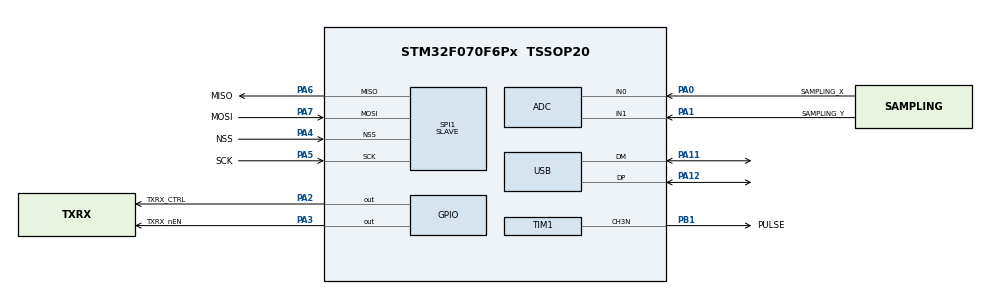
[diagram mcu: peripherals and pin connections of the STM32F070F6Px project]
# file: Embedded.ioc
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ADC.DMAContinuousRequests=ENABLE
ADC.EOCSelection=ADC_EOC_SEQ_CONV
ADC.ExternalTrigConv=ADC_EXTERNALTRIGCONV_T3_TRGO
ADC.Overrun=ADC_OVR_DATA_OVERWRITTEN
ADC.SamplingTime=ADC_SAMPLETIME_7CYCLES_5
Dma.ADC.2.Direction=DMA_PERIPH_TO_MEMORY
Dma.ADC.2.Instance=DMA1_Channel1
Dma.ADC.2.MemDataAlignment=DMA_MDATAALIGN_HALFWORD
Dma.ADC.2.MemInc=DMA_MINC_ENABLE
Dma.ADC.2.Mode=DMA_CIRCULAR
Dma.ADC.2.PeriphDataAlignment=DMA_PDATAALIGN_HALFWORD
Dma.ADC.2.PeriphInc=DMA_PINC_DISABLE
Dma.ADC.2.Priority=DMA_PRIORITY_VERY_HIGH
Dma.Request0=SPI1_RX
Dma.Request1=SPI1_TX
Dma.Request2=ADC
Dma.SPI1_RX.0.Direction=DMA_PERIPH_TO_MEMORY
Dma.SPI1_RX.0.Instance=DMA1_Channel2
Dma.SPI1_RX.0.MemDataAlignment=DMA_MDATAALIGN_BYTE
Dma.SPI1_RX.0.MemInc=DMA_MINC_ENABLE
Dma.SPI1_RX.0.Mode=DMA_CIRCULAR
Dma.SPI1_RX.0.PeriphDataAlignment=DMA_PDATAALIGN_BYTE
Dma.SPI1_RX.0.PeriphInc=DMA_PINC_DISABLE
Dma.SPI1_RX.0.Priority=DMA_PRIORITY_HIGH
Dma.SPI1_TX.1.Direction=DMA_MEMORY_TO_PERIPH
Dma.SPI1_TX.1.Instance=DMA1_Channel3
Dma.SPI1_TX.1.MemDataAlignment=DMA_MDATAALIGN_BYTE
Dma.SPI1_TX.1.MemInc=DMA_MINC_ENABLE
Dma.SPI1_TX.1.Mode=DMA_CIRCULAR
Dma.SPI1_TX.1.PeriphDataAlignment=DMA_PDATAALIGN_BYTE
Dma.SPI1_TX.1.PeriphInc=DMA_PINC_DISABLE
Dma.SPI1_TX.1.Priority=DMA_PRIORITY_MEDIUM
Mcu.Family=STM32F0
Mcu.Name=STM32F070F6Px
Mcu.Package=TSSOP20
Mcu.UserConstants=MCU_CLOCK_FREQ,48000000;ULTRASONIC_TRANSCEIVER_FREQ,40000;TIM1_CLOCK_FREQ,MCU_CLOCK_FREQ;TIM1_RELOAD_VALUE,((TIM1_CLOCK_FREQ/ULTRASONIC_TRANSCEIVER_FREQ)-1);ADC_SAMPLING_FREQ,(ULTRASONIC_TRANSCEIVER_FREQ*4);TIM3_CLOCK_FREQ,MCU_CLOCK_FREQ;TIM3_RELOAD_VALUE,((TIM3_CLOCK_FREQ/ADC_SAMPLING_FREQ)-1);TIM1_CH3N_COMPARE_VALUE,((TIM1_RELOAD_VALUE+1)/2)
NVIC.DMA1_Channel1_IRQn=true\:3\:0\:true\:false\:true\:false\:true
NVIC.DMA1_Channel2_3_IRQn=true\:1\:0\:true\:false\:true\:false\:true
NVIC.USB_IRQn=true\:0\:0\:false\:false\:true\:true\:true
PA0.GPIO_Label=SAMPLING_X
PA0.Mode=IN0
PA0.Signal=ADC_IN0
PA1.GPIO_Label=SAMPLING_Y
PA1.Mode=IN1
PA1.Signal=ADC_IN1
PA11.Mode=Device
PA11.Signal=USB_DM
PA12.Mode=Device
PA12.Signal=USB_DP
PA13.GPIO_Label=SWDIO
PA13.Mode=Serial_Wire
PA13.Signal=SYS_SWDIO
PA14.GPIO_Label=SWCLK
PA14.Mode=Serial_Wire
PA14.Signal=SYS_SWCLK
PA2.GPIO_Label=TXRX_CTRL
PA2.Signal=GPIO_Output
PA3.GPIO_Label=TXRX_nEN
PA3.PinState=GPIO_PIN_SET
PA3.Signal=GPIO_Output
PA4.GPIO_Label=NSS
PA4.Mode=NSS_Signal_Hard_Input
PA4.Signal=SPI1_NSS
PA5.GPIO_Label=SCK
PA5.Mode=Full_Duplex_Slave
PA5.Signal=SPI1_SCK
PA6.GPIO_Label=MISO
PA6.Mode=Full_Duplex_Slave
PA6.Signal=SPI1_MISO
PA7.GPIO_Label=MOSI
PA7.Mode=Full_Duplex_Slave
PA7.Signal=SPI1_MOSI
PB1.GPIO_Label=PULSE
PB1.Mode=Output Compare3 CH3N
PB1.Signal=TIM1_CH3N
PF0-OSC_IN.Mode=HSE-External-Oscillator
PF0-OSC_IN.Signal=RCC_OSC_IN
PF1-OSC_OUT.Mode=HSE-External-Oscillator
PF1-OSC_OUT.Signal=RCC_OSC_OUT
ProjectManager.HeapSize=0x800
ProjectManager.StackSize=0x400
ProjectManager.TargetToolchain=Makefile
RCC.AHBFreq_Value=48000000
RCC.APB1Freq_Value=48000000
RCC.APB1TimFreq_Value=48000000
RCC.HCLKFreq_Value=48000000
RCC.PLLMUL=RCC_PLL_MUL6
RCC.SYSCLKFreq_VALUE=48000000
RCC.SYSCLKSource=RCC_SYSCLKSOURCE_PLLCLK
SPI1.DataSize=SPI_DATASIZE_8BIT
SPI1.Direction=SPI_DIRECTION_2LINES
SPI1.Mode=SPI_MODE_SLAVE
SPI1.VirtualNSS=VM_NSSHARD
SPI1.VirtualType=VM_SLAVE
TIM1.Channel-Output\ Compare3\ CH3N=TIM_CHANNEL_3
TIM1.OCNPolarity_3=TIM_OCNPOLARITY_LOW
TIM1.Period=TIM1_RELOAD_VALUE
TIM1.Pulse-Output\ Compare3\ CH3N=TIM1_CH3N_COMPARE_VALUE
TIM1.TIM_MasterOutputTrigger=TIM_TRGO_ENABLE
TIM3.Period=TIM3_RELOAD_VALUE
USB_DEVICE.APP_RX_DATA_SIZE=128
USB_DEVICE.APP_TX_DATA_SIZE=64
USB_DEVICE.CLASS_NAME_FS=CDC
USB_DEVICE.USBD_MAX_STR_DESC_SIZ=128
USB_DEVICE.USBD_SELF_POWERED=0
USB_DEVICE.VirtualMode=Cdc
USB_DEVICE.VirtualModeFS=Cdc_FS
VP_SYS_VS_PINREMAP.Mode=PINREMAP
VP_TIM1_VS_ClockSourceINT.Mode=Internal
VP_TIM3_VS_ClockSourceINT.Mode=Internal
VP_TIM3_VS_ClockSourceITR.Mode=TriggerSource_ITR0
VP_TIM3_VS_ControllerModeGated.Mode=Gated Mode
VP_USB_DEVICE_VS_USB_DEVICE_CDC_FS.Mode=CDC_FS
board=custom

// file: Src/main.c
/* USER CODE BEGIN Header */
/**
  ******************************************************************************
  * @file           : main.c
  * @brief          : Main program body
  ******************************************************************************
  * @attention
  *
  * <h2><center>&copy; Copyright (c) 2020 STMicroelectronics.
  * All rights reserved.</center></h2>
  *
  * This software component is licensed by ST under Ultimate Liberty license
  * SLA0044, the "License"; You may not use this file except in compliance with
  * the License. You may obtain a copy of the License at:
  *                             www.st.com/SLA0044
  *
  ******************************************************************************
  */
/* USER CODE END Header */

#include "main.h"
#include "usb_device.h"

/* USER CODE BEGIN Includes */
#include "flow.h"
#include "usbd_cdc_if.h"
/* USER CODE END Includes */

/* USER CODE BEGIN PD */
#define FT_SAMPLES FLOW_FT_SAMPLES_128
#define FT_DISCARDED_SAMPLES FLOW_FT_SAMPLES_16
/* USER CODE END PD */

/* USER CODE BEGIN PV */
static uint16_t ADCBuffer[__FLOW_GET_ADC_BUFFER_SIZE(FT_SAMPLES)];
static uint8_t USBTxBuffer[64];

/* USER CODE END PV */

void SystemClock_Config(void);
static void MX_GPIO_Init(void);
static void MX_DMA_Init(void);
static void MX_ADC_Init(void);
static void MX_SPI1_Init(void);
static void MX_TIM1_Init(void);
static void MX_TIM3_Init(void);

/* USER CODE BEGIN PFP */
static uint16_t toCharArray(uint8_t *buffer, int32_t num);
/* USER CODE END PFP */

int main(void)
{

  /* MCU Configuration--------------------------------------------------------*/

  /* Reset of all peripherals, Initializes the Flash interface and the Systick. */
  HAL_Init();

  /* Configure the system clock */
  SystemClock_Config();

  /* Initialize all configured peripherals */
  MX_GPIO_Init();
  MX_DMA_Init();
  MX_ADC_Init();
  MX_SPI1_Init();
  MX_TIM1_Init();
  MX_TIM3_Init();
  MX_USB_DEVICE_Init();

  /* USER CODE BEGIN 2 */
  Flow_Init(ADCBuffer, 25, FT_SAMPLES, FT_DISCARDED_SAMPLES);
  Flow_Start();
  /* USER CODE END 2 */

  /* Infinite loop */
  while (1)
  {
    Flow_Execute();
  }
}

void SystemClock_Config(void)
{
  LL_FLASH_SetLatency(LL_FLASH_LATENCY_1);

  if (LL_FLASH_GetLatency() != LL_FLASH_LATENCY_1)
  {
    Error_Handler();
  }
  LL_RCC_HSE_Enable();

  /* Wait till HSE is ready */
  while (LL_RCC_HSE_IsReady() != 1)
  {
  }
  LL_RCC_HSI14_Enable();

  /* Wait till HSI14 is ready */
  while (LL_RCC_HSI14_IsReady() != 1)
  {
  }
  LL_RCC_HSI14_SetCalibTrimming(16);
  LL_RCC_PLL_ConfigDomain_SYS(LL_RCC_PLLSOURCE_HSE, LL_RCC_PLL_MUL_6, LL_RCC_PREDIV_DIV_1);
  LL_RCC_PLL_Enable();

  /* Wait till PLL is ready */
  while (LL_RCC_PLL_IsReady() != 1)
  {
  }
  LL_RCC_SetAHBPrescaler(LL_RCC_SYSCLK_DIV_1);
  LL_RCC_SetAPB1Prescaler(LL_RCC_APB1_DIV_1);
  LL_RCC_SetSysClkSource(LL_RCC_SYS_CLKSOURCE_PLL);

  /* Wait till System clock is ready */
  while (LL_RCC_GetSysClkSource() != LL_RCC_SYS_CLKSOURCE_STATUS_PLL)
  {
  }
  LL_Init1msTick(48000000);
  LL_SYSTICK_SetClkSource(LL_SYSTICK_CLKSOURCE_HCLK);
  LL_SetSystemCoreClock(48000000);
  LL_RCC_HSI14_EnableADCControl();
  LL_RCC_SetUSBClockSource(LL_RCC_USB_CLKSOURCE_PLL);
}

static void MX_ADC_Init(void)
{

  LL_ADC_InitTypeDef ADC_InitStruct = {0};
  LL_ADC_REG_InitTypeDef ADC_REG_InitStruct = {0};

  LL_GPIO_InitTypeDef GPIO_InitStruct = {0};

  /* Peripheral clock enable */
  LL_APB1_GRP2_EnableClock(LL_APB1_GRP2_PERIPH_ADC1);

  LL_AHB1_GRP1_EnableClock(LL_AHB1_GRP1_PERIPH_GPIOA);
  /**ADC GPIO Configuration
  PA0   ------> ADC_IN0
  PA1   ------> ADC_IN1
  */
  GPIO_InitStruct.Pin = SAMPLING_X_Pin;
  GPIO_InitStruct.Mode = LL_GPIO_MODE_ANALOG;
  GPIO_InitStruct.Pull = LL_GPIO_PULL_NO;
  LL_GPIO_Init(SAMPLING_X_GPIO_Port, &GPIO_InitStruct);

  GPIO_InitStruct.Pin = SAMPLING_Y_Pin;
  GPIO_InitStruct.Mode = LL_GPIO_MODE_ANALOG;
  GPIO_InitStruct.Pull = LL_GPIO_PULL_NO;
  LL_GPIO_Init(SAMPLING_Y_GPIO_Port, &GPIO_InitStruct);

  /* ADC DMA Init */

  /* ADC Init */
  LL_DMA_SetDataTransferDirection(DMA1, LL_DMA_CHANNEL_1, LL_DMA_DIRECTION_PERIPH_TO_MEMORY);

  LL_DMA_SetChannelPriorityLevel(DMA1, LL_DMA_CHANNEL_1, LL_DMA_PRIORITY_VERYHIGH);

  LL_DMA_SetMode(DMA1, LL_DMA_CHANNEL_1, LL_DMA_MODE_CIRCULAR);

  LL_DMA_SetPeriphIncMode(DMA1, LL_DMA_CHANNEL_1, LL_DMA_PERIPH_NOINCREMENT);

  LL_DMA_SetMemoryIncMode(DMA1, LL_DMA_CHANNEL_1, LL_DMA_MEMORY_INCREMENT);

  LL_DMA_SetPeriphSize(DMA1, LL_DMA_CHANNEL_1, LL_DMA_PDATAALIGN_HALFWORD);

  LL_DMA_SetMemorySize(DMA1, LL_DMA_CHANNEL_1, LL_DMA_MDATAALIGN_HALFWORD);

  /** Configure Regular Channel
  */
  LL_ADC_REG_SetSequencerChAdd(ADC1, LL_ADC_CHANNEL_0);
  /** Configure Regular Channel
  */
  LL_ADC_REG_SetSequencerChAdd(ADC1, LL_ADC_CHANNEL_1);
  /** Configure the global features of the ADC (Clock, Resolution, Data Alignment and number of conversion)
  */
  ADC_InitStruct.Clock = LL_ADC_CLOCK_ASYNC;
  ADC_InitStruct.Resolution = LL_ADC_RESOLUTION_12B;
  ADC_InitStruct.DataAlignment = LL_ADC_DATA_ALIGN_RIGHT;
  ADC_InitStruct.LowPowerMode = LL_ADC_LP_MODE_NONE;
  LL_ADC_Init(ADC1, &ADC_InitStruct);
  ADC_REG_InitStruct.TriggerSource = LL_ADC_REG_TRIG_EXT_TIM3_TRGO;
  ADC_REG_InitStruct.SequencerDiscont = LL_ADC_REG_SEQ_DISCONT_DISABLE;
  ADC_REG_InitStruct.ContinuousMode = LL_ADC_REG_CONV_SINGLE;
  ADC_REG_InitStruct.DMATransfer = LL_ADC_REG_DMA_TRANSFER_UNLIMITED;
  ADC_REG_InitStruct.Overrun = LL_ADC_REG_OVR_DATA_OVERWRITTEN;
  LL_ADC_REG_Init(ADC1, &ADC_REG_InitStruct);
  LL_ADC_REG_SetSequencerScanDirection(ADC1, LL_ADC_REG_SEQ_SCAN_DIR_FORWARD);
  LL_ADC_SetSamplingTimeCommonChannels(ADC1, LL_ADC_SAMPLINGTIME_7CYCLES_5);
  LL_ADC_DisableIT_EOC(ADC1);
  LL_ADC_DisableIT_EOS(ADC1);
  LL_ADC_REG_SetTriggerEdge(ADC1, LL_ADC_REG_TRIG_EXT_RISING);
}

static void MX_SPI1_Init(void)
{

  LL_SPI_InitTypeDef SPI_InitStruct = {0};

  LL_GPIO_InitTypeDef GPIO_InitStruct = {0};

  /* Peripheral clock enable */
  LL_APB1_GRP2_EnableClock(LL_APB1_GRP2_PERIPH_SPI1);

  LL_AHB1_GRP1_EnableClock(LL_AHB1_GRP1_PERIPH_GPIOA);
  /**SPI1 GPIO Configuration
  PA4   ------> SPI1_NSS
  PA5   ------> SPI1_SCK
  PA6   ------> SPI1_MISO
  PA7   ------> SPI1_MOSI
  */
  GPIO_InitStruct.Pin = NSS_Pin;
  GPIO_InitStruct.Mode = LL_GPIO_MODE_ALTERNATE;
  GPIO_InitStruct.Speed = LL_GPIO_SPEED_FREQ_HIGH;
  GPIO_InitStruct.OutputType = LL_GPIO_OUTPUT_PUSHPULL;
  GPIO_InitStruct.Pull = LL_GPIO_PULL_NO;
  GPIO_InitStruct.Alternate = LL_GPIO_AF_0;
  LL_GPIO_Init(NSS_GPIO_Port, &GPIO_InitStruct);

  GPIO_InitStruct.Pin = SCK_Pin;
  GPIO_InitStruct.Mode = LL_GPIO_MODE_ALTERNATE;
  GPIO_InitStruct.Speed = LL_GPIO_SPEED_FREQ_HIGH;
  GPIO_InitStruct.OutputType = LL_GPIO_OUTPUT_PUSHPULL;
  GPIO_InitStruct.Pull = LL_GPIO_PULL_NO;
  GPIO_InitStruct.Alternate = LL_GPIO_AF_0;
  LL_GPIO_Init(SCK_GPIO_Port, &GPIO_InitStruct);

  GPIO_InitStruct.Pin = MISO_Pin;
  GPIO_InitStruct.Mode = LL_GPIO_MODE_ALTERNATE;
  GPIO_InitStruct.Speed = LL_GPIO_SPEED_FREQ_HIGH;
  GPIO_InitStruct.OutputType = LL_GPIO_OUTPUT_PUSHPULL;
  GPIO_InitStruct.Pull = LL_GPIO_PULL_NO;
  GPIO_InitStruct.Alternate = LL_GPIO_AF_0;
  LL_GPIO_Init(MISO_GPIO_Port, &GPIO_InitStruct);

  GPIO_InitStruct.Pin = MOSI_Pin;
  GPIO_InitStruct.Mode = LL_GPIO_MODE_ALTERNATE;
  GPIO_InitStruct.Speed = LL_GPIO_SPEED_FREQ_HIGH;
  GPIO_InitStruct.OutputType = LL_GPIO_OUTPUT_PUSHPULL;
  GPIO_InitStruct.Pull = LL_GPIO_PULL_NO;
  GPIO_InitStruct.Alternate = LL_GPIO_AF_0;
  LL_GPIO_Init(MOSI_GPIO_Port, &GPIO_InitStruct);

  /* SPI1 DMA Init */

  /* SPI1_RX Init */
  LL_DMA_SetDataTransferDirection(DMA1, LL_DMA_CHANNEL_2, LL_DMA_DIRECTION_PERIPH_TO_MEMORY);

  LL_DMA_SetChannelPriorityLevel(DMA1, LL_DMA_CHANNEL_2, LL_DMA_PRIORITY_HIGH);

  LL_DMA_SetMode(DMA1, LL_DMA_CHANNEL_2, LL_DMA_MODE_CIRCULAR);

  LL_DMA_SetPeriphIncMode(DMA1, LL_DMA_CHANNEL_2, LL_DMA_PERIPH_NOINCREMENT);

  LL_DMA_SetMemoryIncMode(DMA1, LL_DMA_CHANNEL_2, LL_DMA_MEMORY_INCREMENT);

  LL_DMA_SetPeriphSize(DMA1, LL_DMA_CHANNEL_2, LL_DMA_PDATAALIGN_BYTE);

  LL_DMA_SetMemorySize(DMA1, LL_DMA_CHANNEL_2, LL_DMA_MDATAALIGN_BYTE);

  /* SPI1_TX Init */
  LL_DMA_SetDataTransferDirection(DMA1, LL_DMA_CHANNEL_3, LL_DMA_DIRECTION_MEMORY_TO_PERIPH);

  LL_DMA_SetChannelPriorityLevel(DMA1, LL_DMA_CHANNEL_3, LL_DMA_PRIORITY_MEDIUM);

  LL_DMA_SetMode(DMA1, LL_DMA_CHANNEL_3, LL_DMA_MODE_CIRCULAR);

  LL_DMA_SetPeriphIncMode(DMA1, LL_DMA_CHANNEL_3, LL_DMA_PERIPH_NOINCREMENT);

  LL_DMA_SetMemoryIncMode(DMA1, LL_DMA_CHANNEL_3, LL_DMA_MEMORY_INCREMENT);

  LL_DMA_SetPeriphSize(DMA1, LL_DMA_CHANNEL_3, LL_DMA_PDATAALIGN_BYTE);

  LL_DMA_SetMemorySize(DMA1, LL_DMA_CHANNEL_3, LL_DMA_MDATAALIGN_BYTE);

  /* SPI1 parameter configuration*/
  SPI_InitStruct.TransferDirection = LL_SPI_FULL_DUPLEX;
  SPI_InitStruct.Mode = LL_SPI_MODE_SLAVE;
  SPI_InitStruct.DataWidth = LL_SPI_DATAWIDTH_8BIT;
  SPI_InitStruct.ClockPolarity = LL_SPI_POLARITY_LOW;
  SPI_InitStruct.ClockPhase = LL_SPI_PHASE_1EDGE;
  SPI_InitStruct.NSS = LL_SPI_NSS_HARD_INPUT;
  SPI_InitStruct.BitOrder = LL_SPI_MSB_FIRST;
  SPI_InitStruct.CRCCalculation = LL_SPI_CRCCALCULATION_DISABLE;
  SPI_InitStruct.CRCPoly = 7;
  LL_SPI_Init(SPI1, &SPI_InitStruct);
  LL_SPI_SetStandard(SPI1, LL_SPI_PROTOCOL_MOTOROLA);
  LL_SPI_DisableNSSPulseMgt(SPI1);
}

static void MX_TIM1_Init(void)
{

  LL_TIM_InitTypeDef TIM_InitStruct = {0};
  LL_TIM_OC_InitTypeDef TIM_OC_InitStruct = {0};
  LL_TIM_BDTR_InitTypeDef TIM_BDTRInitStruct = {0};

  LL_GPIO_InitTypeDef GPIO_InitStruct = {0};

  /* Peripheral clock enable */
  LL_APB1_GRP2_EnableClock(LL_APB1_GRP2_PERIPH_TIM1);

  TIM_InitStruct.Prescaler = 0;
  TIM_InitStruct.CounterMode = LL_TIM_COUNTERMODE_UP;
  TIM_InitStruct.Autoreload = TIM1_RELOAD_VALUE;
  TIM_InitStruct.ClockDivision = LL_TIM_CLOCKDIVISION_DIV1;
  TIM_InitStruct.RepetitionCounter = 0;
  LL_TIM_Init(TIM1, &TIM_InitStruct);
  LL_TIM_DisableARRPreload(TIM1);
  LL_TIM_SetClockSource(TIM1, LL_TIM_CLOCKSOURCE_INTERNAL);
  TIM_OC_InitStruct.OCMode = LL_TIM_OCMODE_FROZEN;
  TIM_OC_InitStruct.OCState = LL_TIM_OCSTATE_DISABLE;
  TIM_OC_InitStruct.OCNState = LL_TIM_OCSTATE_DISABLE;
  TIM_OC_InitStruct.CompareValue = TIM1_CH3N_COMPARE_VALUE;
  TIM_OC_InitStruct.OCPolarity = LL_TIM_OCPOLARITY_HIGH;
  TIM_OC_InitStruct.OCNPolarity = LL_TIM_OCPOLARITY_LOW;
  TIM_OC_InitStruct.OCIdleState = LL_TIM_OCIDLESTATE_LOW;
  TIM_OC_InitStruct.OCNIdleState = LL_TIM_OCIDLESTATE_LOW;
  LL_TIM_OC_Init(TIM1, LL_TIM_CHANNEL_CH3, &TIM_OC_InitStruct);
  LL_TIM_OC_DisableFast(TIM1, LL_TIM_CHANNEL_CH3);
  LL_TIM_SetTriggerOutput(TIM1, LL_TIM_TRGO_ENABLE);
  LL_TIM_DisableMasterSlaveMode(TIM1);
  TIM_BDTRInitStruct.OSSRState = LL_TIM_OSSR_DISABLE;
  TIM_BDTRInitStruct.OSSIState = LL_TIM_OSSI_DISABLE;
  TIM_BDTRInitStruct.LockLevel = LL_TIM_LOCKLEVEL_OFF;
  TIM_BDTRInitStruct.DeadTime = 0;
  TIM_BDTRInitStruct.BreakState = LL_TIM_BREAK_DISABLE;
  TIM_BDTRInitStruct.BreakPolarity = LL_TIM_BREAK_POLARITY_HIGH;
  TIM_BDTRInitStruct.AutomaticOutput = LL_TIM_AUTOMATICOUTPUT_DISABLE;
  LL_TIM_BDTR_Init(TIM1, &TIM_BDTRInitStruct);
  LL_AHB1_GRP1_EnableClock(LL_AHB1_GRP1_PERIPH_GPIOB);
  /**TIM1 GPIO Configuration
  PB1   ------> TIM1_CH3N
  */
  GPIO_InitStruct.Pin = PULSE_Pin;
  GPIO_InitStruct.Mode = LL_GPIO_MODE_ALTERNATE;
  GPIO_InitStruct.Speed = LL_GPIO_SPEED_FREQ_LOW;
  GPIO_InitStruct.OutputType = LL_GPIO_OUTPUT_PUSHPULL;
  GPIO_InitStruct.Pull = LL_GPIO_PULL_NO;
  GPIO_InitStruct.Alternate = LL_GPIO_AF_2;
  LL_GPIO_Init(PULSE_GPIO_Port, &GPIO_InitStruct);
}

static void MX_TIM3_Init(void)
{

  LL_TIM_InitTypeDef TIM_InitStruct = {0};

  /* Peripheral clock enable */
  LL_APB1_GRP1_EnableClock(LL_APB1_GRP1_PERIPH_TIM3);

  TIM_InitStruct.Prescaler = 0;
  TIM_InitStruct.CounterMode = LL_TIM_COUNTERMODE_UP;
  TIM_InitStruct.Autoreload = TIM3_RELOAD_VALUE;
  TIM_InitStruct.ClockDivision = LL_TIM_CLOCKDIVISION_DIV1;
  LL_TIM_Init(TIM3, &TIM_InitStruct);
  LL_TIM_DisableARRPreload(TIM3);
  LL_TIM_SetClockSource(TIM3, LL_TIM_CLOCKSOURCE_INTERNAL);
  LL_TIM_SetTriggerInput(TIM3, LL_TIM_TS_ITR0);
  LL_TIM_SetSlaveMode(TIM3, LL_TIM_SLAVEMODE_GATED);
  LL_TIM_DisableIT_TRIG(TIM3);
  LL_TIM_DisableDMAReq_TRIG(TIM3);
  LL_TIM_SetTriggerOutput(TIM3, LL_TIM_TRGO_RESET);
  LL_TIM_DisableMasterSlaveMode(TIM3);
}

static void MX_DMA_Init(void)
{
  /* Init with LL driver */
  /* DMA controller clock enable */
  LL_AHB1_GRP1_EnableClock(LL_AHB1_GRP1_PERIPH_DMA1);

  /* DMA interrupt init */
  /* DMA1_Channel1_IRQn interrupt configuration */
  NVIC_SetPriority(DMA1_Channel1_IRQn, 3);
  NVIC_EnableIRQ(DMA1_Channel1_IRQn);
  /* DMA1_Channel2_3_IRQn interrupt configuration */
  NVIC_SetPriority(DMA1_Channel2_3_IRQn, 1);
  NVIC_EnableIRQ(DMA1_Channel2_3_IRQn);
}

static void MX_GPIO_Init(void)
{
  LL_GPIO_InitTypeDef GPIO_InitStruct = {0};

  /* GPIO Ports Clock Enable */
  LL_AHB1_GRP1_EnableClock(LL_AHB1_GRP1_PERIPH_GPIOF);
  LL_AHB1_GRP1_EnableClock(LL_AHB1_GRP1_PERIPH_GPIOA);
  LL_AHB1_GRP1_EnableClock(LL_AHB1_GRP1_PERIPH_GPIOB);

  /**/
  LL_GPIO_ResetOutputPin(TXRX_CTRL_GPIO_Port, TXRX_CTRL_Pin);

  /**/
  LL_GPIO_SetOutputPin(TXRX_nEN_GPIO_Port, TXRX_nEN_Pin);

  /**/
  GPIO_InitStruct.Pin = TXRX_CTRL_Pin;
  GPIO_InitStruct.Mode = LL_GPIO_MODE_OUTPUT;
  GPIO_InitStruct.Speed = LL_GPIO_SPEED_FREQ_LOW;
  GPIO_InitStruct.OutputType = LL_GPIO_OUTPUT_PUSHPULL;
  GPIO_InitStruct.Pull = LL_GPIO_PULL_NO;
  LL_GPIO_Init(TXRX_CTRL_GPIO_Port, &GPIO_InitStruct);

  /**/
  GPIO_InitStruct.Pin = TXRX_nEN_Pin;
  GPIO_InitStruct.Mode = LL_GPIO_MODE_OUTPUT;
  GPIO_InitStruct.Speed = LL_GPIO_SPEED_FREQ_LOW;
  GPIO_InitStruct.OutputType = LL_GPIO_OUTPUT_PUSHPULL;
  GPIO_InitStruct.Pull = LL_GPIO_PULL_NO;
  LL_GPIO_Init(TXRX_nEN_GPIO_Port, &GPIO_InitStruct);
}

/* USER CODE BEGIN 4 */
void Flow_MeasurementCompletedCb(float xVelocity, float yVelocity)
{
  int32_t x_int, y_int;
  int idx = 0;

  x_int = (int32_t)(xVelocity * 1000.0);
  if (x_int < 0.0f)
    x_int = -x_int;

  USBTxBuffer[idx++] = 'X';
  USBTxBuffer[idx++] = ':';

  if (xVelocity < 0.0f)
    USBTxBuffer[idx++] = '-';

  idx = toCharArray(&USBTxBuffer[idx], (x_int / 1000));
  USBTxBuffer[idx++] = '.';
  idx = toCharArray(&USBTxBuffer[idx], (x_int % 1000));

  if (Flow_IsEnabledYAxis())
  {
    y_int = (int32_t)(yVelocity * 1000.0);

    if (y_int < 0.0f)
      y_int = -y_int;

    USBTxBuffer[idx++] = ' ';
    USBTxBuffer[idx++] = 'Y';
    USBTxBuffer[idx++] = ':';

    if (yVelocity < 0.0f)
      USBTxBuffer[idx++] = '-';

    idx = toCharArray(&USBTxBuffer[idx], (y_int / 1000));
    USBTxBuffer[idx++] = '.';
    idx = toCharArray(&USBTxBuffer[idx], (y_int % 1000));
  }

  USBTxBuffer[idx++] = '\n';
  USBTxBuffer[idx++] = '\r';

  CDC_Transmit_FS(USBTxBuffer, idx);
}

static uint16_t toCharArray(uint8_t *buffer, int32_t num)
{
  int i, rem, len = 0, n;

  n = num;
  while (n != 0)
  {
    len++;
    n /= 10;
  }
  for (i = 0; i < len; i++)
  {
    rem = num % 10;
    num = num / 10;
    buffer[len - (i + 1)] = rem + '0';
  }

  return len;
}

/* USER CODE END 4 */

void Error_Handler(void)
{
}

/************************ (C) COPYRIGHT STMicroelectronics *****END OF FILE****/
